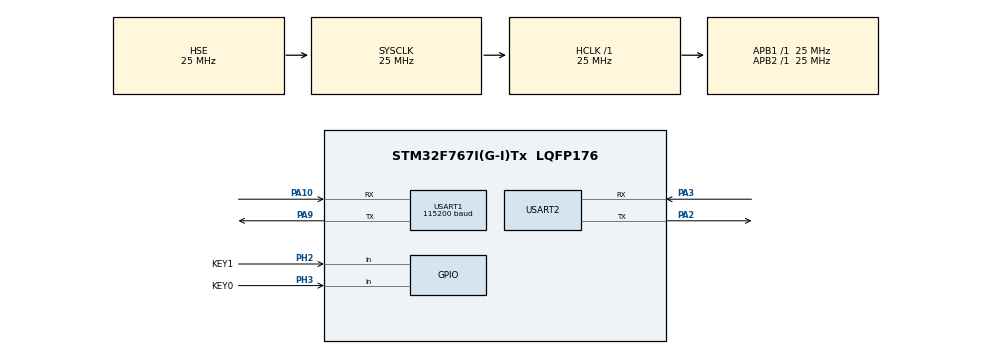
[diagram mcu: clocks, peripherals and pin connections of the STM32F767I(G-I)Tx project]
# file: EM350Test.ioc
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Mcu.Family=STM32F7
Mcu.Name=STM32F767I(G-I)Tx
Mcu.Package=LQFP176
NVIC.PriorityGroup=NVIC_PRIORITYGROUP_4
NVIC.USART1_IRQn=true\:0\:0\:false\:false\:true\:true\:true
PA10.Mode=Asynchronous
PA10.Signal=USART1_RX
PA13.Mode=Serial_Wire
PA13.Signal=SYS_JTMS-SWDIO
PA14.Mode=Serial_Wire
PA14.Signal=SYS_JTCK-SWCLK
PA2.Mode=Asynchronous
PA2.Signal=USART2_TX
PA3.Mode=Asynchronous
PA3.Signal=USART2_RX
PA9.Mode=Asynchronous
PA9.Signal=USART1_TX
PH0/OSC_IN.Mode=HSE-External-Oscillator
PH0/OSC_IN.Signal=RCC_OSC_IN
PH1/OSC_OUT.Mode=HSE-External-Oscillator
PH1/OSC_OUT.Signal=RCC_OSC_OUT
PH2.GPIO_Label=KEY1
PH2.GPIO_PuPd=GPIO_PULLUP
PH2.Signal=GPIO_Input
PH3.GPIO_Label=KEY0
PH3.GPIO_PuPd=GPIO_PULLUP
PH3.Signal=GPIO_Input
ProjectManager.HeapSize=0x200
ProjectManager.StackSize=0x400
ProjectManager.TargetToolchain=Other Toolchains (GPDSC)
RCC.AHBFreq_Value=25000000
RCC.APB1Freq_Value=25000000
RCC.APB1TimFreq_Value=25000000
RCC.APB2Freq_Value=25000000
RCC.APB2TimFreq_Value=25000000
RCC.CortexFreq_Value=25000000
RCC.HCLKFreq_Value=25000000
RCC.HSE_VALUE=25000000
RCC.HSI_VALUE=16000000
RCC.LSE_VALUE=32768
RCC.PLLSourceVirtual=RCC_PLLSOURCE_HSE
RCC.SYSCLKFreq_VALUE=25000000
RCC.SYSCLKSource=RCC_SYSCLKSOURCE_HSE
RCC.USBFreq_Value=150000000
RCC.VCOOutputFreq_Value=300000000
USART1.BaudRate=115200
USART1.VirtualMode-Asynchronous=VM_ASYNC
USART2.VirtualMode-Asynchronous=VM_ASYNC
board=custom

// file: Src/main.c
/* USER CODE BEGIN Header */
/**
  ******************************************************************************
  * @file           : main.c
  * @brief          : Main program body
  ******************************************************************************
  * @attention
  *
  * <h2><center>&copy; Copyright (c) 2020 STMicroelectronics.
  * All rights reserved.</center></h2>
  *
  * This software component is licensed by ST under BSD 3-Clause license,
  * the "License"; You may not use this file except in compliance with the
  * License. You may obtain a copy of the License at:
  *                        opensource.org/licenses/BSD-3-Clause
  *
  ******************************************************************************
  */
/* USER CODE END Header */

#include "main.h"
#include "usart.h"
#include "gpio.h"

/* USER CODE BEGIN Includes */
#include <string.h>
/* USER CODE END Includes */

/* USER CODE BEGIN PD */
const char ATEnd[] = { "\r\0" };
/* USER CODE END PD */

/* USER CODE BEGIN PV */
uint32_t atIndex;
uint32_t atCount;
uint8_t* ATList[100];
/* USER CODE END PV */

void SystemClock_Config(void);

/* USER CODE BEGIN 0 */
void atSystemInit(void);
/* USER CODE END 0 */

int main(void)
{
  /* USER CODE BEGIN 1 */
	uint32_t i;
	atIndex=0;
	atCount=0;
  /* USER CODE END 1 */

  /* MCU Configuration--------------------------------------------------------*/

  /* Reset of all peripherals, Initializes the Flash interface and the Systick. */
  HAL_Init();

  /* Configure the system clock */
  SystemClock_Config();

  /* Initialize all configured peripherals */
  MX_GPIO_Init();
  MX_USART1_UART_Init();
  MX_USART2_UART_Init();
  /* USER CODE BEGIN 2 */
  atSystemInit();
  txByteLen=0;
  for(i=0;i<15;i++)
	  txByteList[i]=i;
  txByteLen=15;
  while(HAL_UART_Receive_IT(&huart1,&huart1Rx,1)==HAL_OK);
  /* USER CODE END 2 */

  /* Infinite loop */
  /* USER CODE BEGIN WHILE */
  while (1)
  {
	  //下一条指令
	  if(HAL_GPIO_ReadPin(KEY1_GPIO_Port,KEY1_Pin)==GPIO_PIN_RESET)
	  {
		  HAL_Delay(20);
		  if(HAL_GPIO_ReadPin(KEY1_GPIO_Port,KEY1_Pin)==GPIO_PIN_RESET)
		  {
			  atIndex++;
			  HAL_UART_Transmit(&huart1,ATList[atIndex],strlen(ATList[atIndex]),1000);
			  HAL_UART_Transmit(&huart1,(uint8_t*)ATEnd,strlen(ATEnd),1000);
			  HAL_Delay(500);
		  }
	  }
	  //重复当前指令
	  if(HAL_GPIO_ReadPin(KEY1_GPIO_Port,KEY0_Pin)==GPIO_PIN_RESET)
	  {
		  HAL_Delay(20);
		  if(HAL_GPIO_ReadPin(KEY1_GPIO_Port,KEY0_Pin)==GPIO_PIN_RESET)
		  {
			  HAL_UART_Transmit(&huart1,ATList[atIndex],strlen(ATList[atIndex]),1000);
			  HAL_UART_Transmit(&huart1,(uint8_t*)ATEnd,strlen(ATEnd),1000);
			  HAL_Delay(500);
		  }
	  }
// 	  HAL_Delay(1000);
//  	  HAL_UART_Transmit(&huart1,ATList[0],strlen(ATList[0]),1000);
// 	  HAL_UART_Transmit(&huart2,txByteList,txByteLen,1000);
    /* USER CODE END WHILE */

  }
}

void SystemClock_Config(void)
{
  RCC_OscInitTypeDef RCC_OscInitStruct = {0};
  RCC_ClkInitTypeDef RCC_ClkInitStruct = {0};
  RCC_PeriphCLKInitTypeDef PeriphClkInitStruct = {0};

  /** Configure the main internal regulator output voltage
  */
  __HAL_RCC_PWR_CLK_ENABLE();
  __HAL_PWR_VOLTAGESCALING_CONFIG(PWR_REGULATOR_VOLTAGE_SCALE3);
  /** Initializes the CPU, AHB and APB busses clocks
  */
  RCC_OscInitStruct.OscillatorType = RCC_OSCILLATORTYPE_HSE;
  RCC_OscInitStruct.HSEState = RCC_HSE_ON;
  RCC_OscInitStruct.PLL.PLLState = RCC_PLL_NONE;
  if (HAL_RCC_OscConfig(&RCC_OscInitStruct) != HAL_OK)
  {
    Error_Handler();
  }
  /** Initializes the CPU, AHB and APB busses clocks
  */
  RCC_ClkInitStruct.ClockType = RCC_CLOCKTYPE_HCLK|RCC_CLOCKTYPE_SYSCLK
                              |RCC_CLOCKTYPE_PCLK1|RCC_CLOCKTYPE_PCLK2;
  RCC_ClkInitStruct.SYSCLKSource = RCC_SYSCLKSOURCE_HSE;
  RCC_ClkInitStruct.AHBCLKDivider = RCC_SYSCLK_DIV1;
  RCC_ClkInitStruct.APB1CLKDivider = RCC_HCLK_DIV1;
  RCC_ClkInitStruct.APB2CLKDivider = RCC_HCLK_DIV1;

  if (HAL_RCC_ClockConfig(&RCC_ClkInitStruct, FLASH_LATENCY_0) != HAL_OK)
  {
    Error_Handler();
  }
  PeriphClkInitStruct.PeriphClockSelection = RCC_PERIPHCLK_USART1|RCC_PERIPHCLK_USART2;
  PeriphClkInitStruct.Usart1ClockSelection = RCC_USART1CLKSOURCE_PCLK2;
  PeriphClkInitStruct.Usart2ClockSelection = RCC_USART2CLKSOURCE_PCLK1;
  if (HAL_RCCEx_PeriphCLKConfig(&PeriphClkInitStruct) != HAL_OK)
  {
    Error_Handler();
  }
}

void Error_Handler(void)
{
}

/************************ (C) COPYRIGHT STMicroelectronics *****END OF FILE****/
